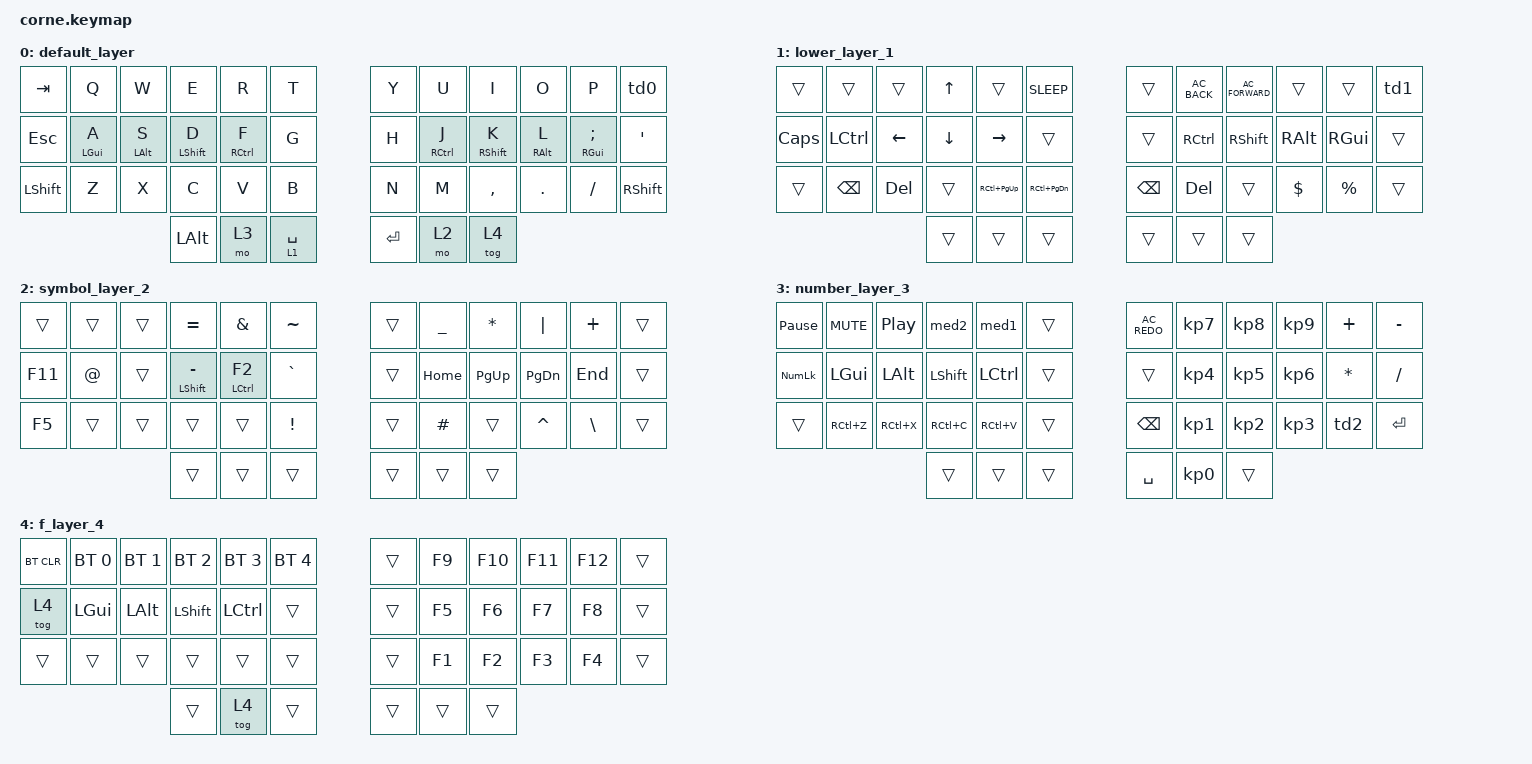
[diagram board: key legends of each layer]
/*
 * Copyright (c) 2020 The ZMK Contributors
 *
 * SPDX-License-Identifier: MIT
 */

#include <behaviors.dtsi>
#include <dt-bindings/zmk/keys.h>
#include <dt-bindings/zmk/bt.h>

/ {
        behaviors {
            td0: tap_dance_0 {
                compatible = "zmk,behavior-tap-dance";
                label = "TAP_DANCE_0";
                #binding-cells = <0>;
                tapping-term-ms = <200>;
                bindings = <&kp LBKT>, <&kp RBKT>;
            };
            td1: tap_dance_1 {
                compatible = "zmk,behavior-tap-dance";
                label = "TAP_DANCE_1";
                #binding-cells = <0>;
                tapping-term-ms = <200>;
                bindings = <&kp LPAR>, <&kp RPAR>;
            };
            td2: tap_dance_2 {
                compatible = "zmk,behavior-tap-dance";
                label = "TAP_DANCE_2";
                #binding-cells = <0>;
                tapping-term-ms = <200>;
                bindings = <&kp DOT>, <&kp COMMA>;
            };
            med1: media_3 {
                compatible = "zmk,behavior-tap-dance";
                label = "MEDIA_BK";
                #binding-cells = <0>;
                tapping-term-ms = <200>;
                bindings = <&kp C_VOL_UP>, <&kp C_NEXT>;
            };
            med2: media_4 {
                compatible = "zmk,behavior-tap-dance";
                label = "MEDIA_FWD";
                #binding-cells = <0>;
                tapping-term-ms = <200>;
                bindings = <&kp C_VOL_DN>, <&kp C_PREV>;
            };
            hm: homerow_mods {
                compatible = "zmk,behavior-hold-tap";
                label = "HOMEROW_MODS";
                #binding-cells = <2>;
                tapping-term-ms = <200>;
                quick-tap-ms = <0>;
                flavor = "tap-preferred";
                bindings = <&kp>, <&kp>;
            };
        };

        keymap {
                compatible = "zmk,keymap";

//Empty Layer
/*

                empty_layer {
// -----------------------------------------------------------------------------------------
// |  TAB |  Q  |  W  |  E  |  R  |  T  |   |  Y  |  U   |  I  |  O  |  P  | BKSP |
// | CTRL |  A  |  S  |  D  |  F  |  G  |   |  H  |  J   |  K  |  L  |  ;  |  '   |
// | SHFT |  Z  |  X  |  C  |  V  |  B  |   |  N  |  M   |  ,  |  .  |  /  | ESC  |
//                    | GUI | LWR | SPC |   | ENT | RSE  | ALT |
                        bindings = <
    &trans          &trans          &trans          &trans          &trans          &trans              &trans          &trans          &trans          &trans          &trans          &trans
    &trans          &trans          &trans          &trans          &trans          &trans              &trans          &trans          &trans          &trans          &trans          &trans
    &trans          &trans          &trans          &trans          &trans          &trans              &trans          &trans          &trans          &trans          &trans          &trans
                                                                     &trans    &trans   &trans               &trans     &trans   &trans
                        >;
                };
*/

                default_layer {
// -----------------------------------------------------------------------------------------
// |  TAB |  Q  |  W  |  E  |  R  |  T  |   |  Y  |  U   |  I  |  O  |  P  | BKSP |
// | CTRL |  A  |  S  |  D  |  F  |  G  |   |  H  |  J   |  K  |  L  |  ;  |  '   |
// | SHFT |  Z  |  X  |  C  |  V  |  B  |   |  N  |  M   |  ,  |  .  |  /  | ESC  |
//                    | GUI | LWR | SPC |   | ENT | RSE  | ALT |
                        bindings = <
    &kp TAB         &kp Q           &kp W           &kp E           &kp R           &kp T               &kp Y           &kp U           &kp I           &kp O           &kp P           &td0
    &kp ESC         &hm LGUI A      &hm LALT S      &hm LSHFT D     &hm RCTRL F     &kp G               &kp H           &hm RCTRL J     &hm RSHFT K     &hm RALT L      &hm RGUI SEMI   &kp SQT
    &kp LSHFT       &kp Z           &kp X           &kp C           &kp V           &kp B               &kp N           &kp M           &kp COMMA       &kp DOT         &kp FSLH        &kp RSHFT
                                                            &kp LALT    &mo 3   &lt 1 SPACE            &kp RET     &mo 2   &tog 4
                        >;
                };
                lower_layer_1 {
// -----------------------------------------------------------------------------------------
// |  TAB |  1  |  2  |  3  |  4  |  5  |   |  6  |  7  |  8  |  9  |  0  | BKSP |
// | BTCLR| BT1 | BT2 | BT3 | BT4 | BT5 |   | LFT | DWN |  UP | RGT |     |      |
// | SHFT |     |     |     |     |     |   |     |     |     |     |     |      |
//                    | GUI |     | SPC |   | ENT |     | ALT |
                        bindings = <
    &trans          &trans          &trans          &kp UP          &trans          &kp C_SLEEP         &trans          &kp C_AC_BACK   &kp C_AC_FORWARD &trans          &trans          &td1
    &kp CAPS        &kp LCTRL       &kp LEFT        &kp DOWN        &kp RIGHT       &trans              &trans          &kp RCTRL       &kp RSHFT       &kp RALT        &kp RGUI        &trans
    &trans          &kp BSPC        &kp DEL         &trans          &kp RC(PG_UP)   &kp RC(PG_DN)       &kp BSPC        &kp DEL         &trans          &kp DLLR        &kp PRCNT       &trans
                                                                     &trans    &trans   &trans          &trans     &trans   &trans
                        >;
                };

                symbol_layer_2 {
// -----------------------------------------------------------------------------------------
// |  TAB |     |     |     |  $  |  %  |   |  ^  |  &  |  *  |  (  |  )  | BKSP |
// | CTRL |     |     |     |     |     |   |  -  |  =  |  [  |  ]  |  \  |  `   |
// | SHFT |     |     |     |     |     |   |  _  |  +  |  {  |  }  | "|" |  ~   |
//                    | GUI |     | SPC |   | ENT |     | ALT |
                        bindings = <
    &trans          &trans          &trans          &kp EQUAL       &kp AMPS        &kp TILDE           &trans          &kp UNDER       &kp ASTRK       &kp PIPE        &kp PLUS        &trans
    &kp F11         &kp AT          &trans          &hm LSHFT MINUS &hm LCTRL F2    &kp GRAVE           &trans          &kp HOME        &kp PG_UP       &kp PG_DN       &kp END         &trans
    &kp F5          &trans          &trans          &trans          &trans          &kp EXCL            &trans          &kp HASH        &trans          &kp CARET       &kp BSLH        &trans
                                                                     &trans    &trans   &trans               &trans     &trans   &trans
                        >;
                };

                number_layer_3 {
// -----------------------------------------------------------------------------------------
// |  TAB |  Q  |  W  |  E  |  R  |  T  |   |  Y  |  U   |  I  |  O  |  P  | BKSP |
// | CTRL |  A  |  S  |  D  |  F  |  G  |   |  H  |  J   |  K  |  L  |  ;  |  '   |
// | SHFT |  Z  |  X  |  C  |  V  |  B  |   |  N  |  M   |  ,  |  .  |  /  | ESC  |
//                    | GUI | LWR | SPC |   | ENT | RSE  | ALT |
                        bindings = <
    &kp PAUSE_BREAK &kp C_MUTE      &kp C_PP        &med2           &med1           &trans              &kp C_AC_REDO   &kp KP_N7       &kp KP_N8       &kp KP_N9       &kp PLUS        &kp MINUS
    &kp KP_NLCK     &kp LGUI        &kp LALT        &kp LSHFT       &kp LCTRL       &trans              &trans          &kp KP_N4       &kp KP_N5       &kp KP_N6       &kp ASTRK       &kp FSLH
    &trans          &kp RC(Z)       &kp RC(X)       &kp RC(C)       &kp RC(V)       &trans              &kp BSPC        &kp KP_N1       &kp KP_N2       &kp KP_N3       &td2            &kp RET
                                                                     &trans    &trans   &trans               &kp SPACE  &kp KP_N0   &trans
                        >;
                };

                f_layer_4 {
// -----------------------------------------------------------------------------------------
// |  TAB |  Q  |  W  |  E  |  R  |  T  |   |  Y  |  U   |  I  |  O  |  P  | BKSP |
// | CTRL |  A  |  S  |  D  |  F  |  G  |   |  H  |  J   |  K  |  L  |  ;  |  '   |
// | SHFT |  Z  |  X  |  C  |  V  |  B  |   |  N  |  M   |  ,  |  .  |  /  | ESC  |
//                    | GUI | LWR | SPC |   | ENT | RSE  | ALT |
                        bindings = <
    &bt BT_CLR      &bt BT_SEL 0    &bt BT_SEL 1    &bt BT_SEL 2    &bt BT_SEL 3    &bt BT_SEL 4        &trans          &kp F9       &kp F10      &kp F11       &kp F12         &trans       
    &tog 4          &kp LGUI        &kp LALT        &kp LSHFT       &kp LCTRL       &trans              &trans          &kp F5       &kp F6       &kp F7        &kp F8          &trans
    &trans          &trans          &trans          &trans          &trans          &trans              &trans          &kp F1       &kp F2       &kp F3        &kp F4          &trans
                                                                     &trans    &tog 4   &trans               &trans     &trans   &trans
                        >;
                };
        };
};
